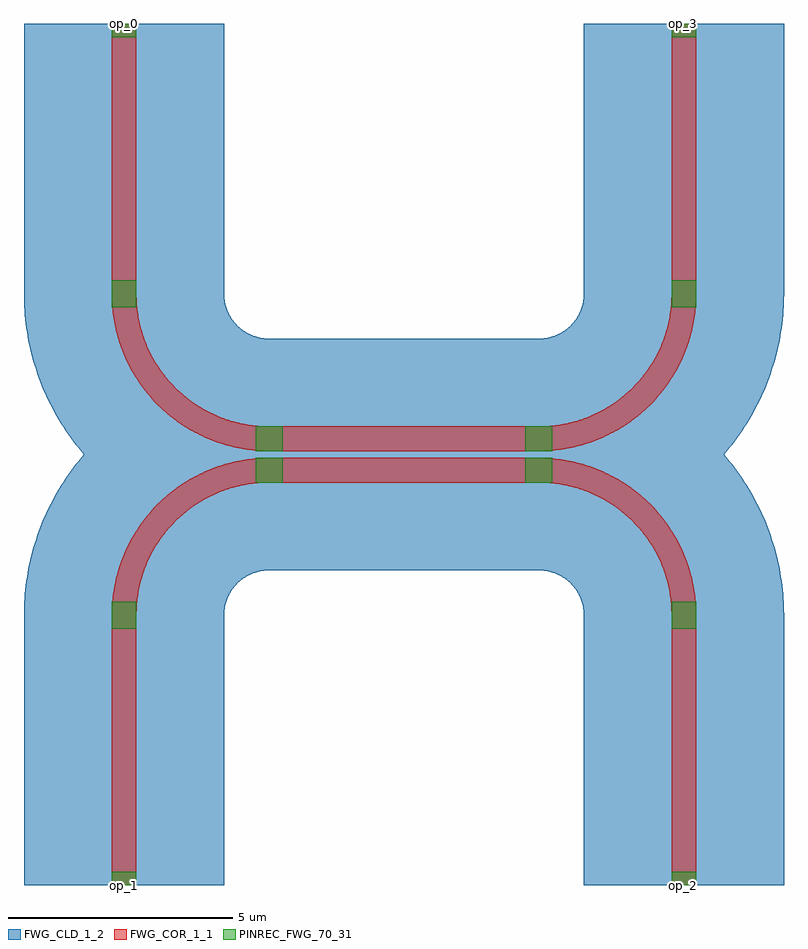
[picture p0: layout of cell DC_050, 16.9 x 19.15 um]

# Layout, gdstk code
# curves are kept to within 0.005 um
from math import pi, radians
import gdstk
lib = gdstk.Library(unit=1e-6, precision=1e-09)
def R(c, l, rs):  # rectangles x0, y0, x1, y1
    for r in rs: c.add(gdstk.rectangle(r[:2], r[2:], *l))
def P(c, l, *ps):  # polygons
    for p in ps: c.add(gdstk.Polygon(p, *l))
FWG_COR_1_1 = (1, 1)
FWG_CLD_1_2 = (1, 2)
PINREC_FWG_70_31 = (70, 31)

wg_x1 = lib.new_cell('wg_x1')
R(wg_x1, FWG_COR_1_1, [(-3,-0.275,3,0.275)])
P(wg_x1, FWG_CLD_1_2, [(-3,2.225),(3,2.225),(3,0.275),(3,-0.275),(3,-2.225),(-3,-2.225),(-3,-0.275),(-3,0.275)])
R(wg_x1, PINREC_FWG_70_31, [(-3,-0.275,-2.7,0.275), (2.7,-0.275,3,0.275)])
wg_x1.add(gdstk.Label('op_0', (-3,0), layer=70, texttype=41))
wg_x1.add(gdstk.Label('op_1', (3,0), layer=70, texttype=41))

straight_coupler = lib.new_cell('Straight_coupler')
R(straight_coupler, PINREC_FWG_70_31, [(-3,-0.275,-2.7,0.275), (2.7,-0.275,3,0.275)])
straight_coupler.add(gdstk.Reference(wg_x1, (0,0)))
straight_coupler.add(gdstk.Label('op_0', (-3,0), layer=70, texttype=41))
straight_coupler.add(gdstk.Label('op_1', (3,0), layer=70, texttype=41))

c_wg = lib.new_cell('wg')
P(c_wg, FWG_COR_1_1, [(2.95,0),(2.943,0.206),(2.914,0.461),(2.862,0.714),(2.772,1.009),(2.674,1.247),(2.555,1.475),(2.446,1.65),(2.26,1.896),(2.049,2.122),(1.816,2.325),(1.65,2.446),(1.519,2.529),(1.247,2.674),(0.912,2.806),(0.613,2.886),(0.308,2.934),(0,2.95),(0,3.5),(0.366,3.481),(0.728,3.424),(1.082,3.329),(1.254,3.268),(1.479,3.172),(1.803,3),(2.008,2.867),(2.155,2.758),(2.431,2.518),(2.681,2.25),(2.867,2.008),(3,1.803),(3.119,1.589),(3.222,1.368),(3.329,1.082),(3.381,0.906),(3.436,0.668),(3.474,0.427),(3.495,0.183),(3.5,0)])
P(c_wg, FWG_CLD_1_2, [(1,0),(0.982,0.191),(0.934,0.358),(0.891,0.454),(0.839,0.545),(0.719,0.695),(0.643,0.766),(0.545,0.839),(0.375,0.927),(0.191,0.982),(0,1),(0,5.45),(0.38,5.437),(0.853,5.383),(1.04,5.35),(1.318,5.288),(1.502,5.239),(1.774,5.153),(2.217,4.979),(2.389,4.899),(2.642,4.767),(2.807,4.672),(3.048,4.518),(3.28,4.353),(3.43,4.236),(3.786,3.92),(3.986,3.717),(4.113,3.576),(4.236,3.43),(4.409,3.203),(4.518,3.048),(4.672,2.807),(4.899,2.389),(5.017,2.13),(5.088,1.953),(5.239,1.502),(5.35,1.04),(5.383,0.853),(5.42,0.57),(5.443,0.285),(5.45,0)])
R(c_wg, PINREC_FWG_70_31, [(2.95,0,3.5,0.3), (0,2.95,0.3,3.5)])
c_wg.add(gdstk.Label('op_0', (3.225,0), layer=70, texttype=41))
c_wg.add(gdstk.Label('op_1', (0,3.225), layer=70, texttype=41))

bendcircular_rbend = lib.new_cell('BendCircular_rbend')
R(bendcircular_rbend, PINREC_FWG_70_31, [(2.95,0,3.5,0.3), (0,2.95,0.3,3.5)])
bendcircular_rbend.add(gdstk.Reference(c_wg, (0,0)))
bendcircular_rbend.add(gdstk.Label('op_0', (3.225,0), layer=70, texttype=41))
bendcircular_rbend.add(gdstk.Label('op_1', (0,3.225), layer=70, texttype=41))

wg_x2 = lib.new_cell('wg_x2')
R(wg_x2, FWG_COR_1_1, [(0,-0.275,6,0.275)])
P(wg_x2, FWG_CLD_1_2, [(0,2.225),(6,2.225),(6,0.275),(6,-0.275),(6,-2.225),(0,-2.225),(0,-0.275),(0,0.275)])
R(wg_x2, PINREC_FWG_70_31, [(0,-0.275,0.3,0.275), (5.7,-0.275,6,0.275)])
wg_x2.add(gdstk.Label('op_0', (0,0), layer=70, texttype=41))
wg_x2.add(gdstk.Label('op_1', (6,0), layer=70, texttype=41))

straight_rafterbend = lib.new_cell('Straight_rafterbend')
R(straight_rafterbend, PINREC_FWG_70_31, [(0,-0.275,0.3,0.275), (5.7,-0.275,6,0.275)])
straight_rafterbend.add(gdstk.Reference(wg_x2, (0,0)))
straight_rafterbend.add(gdstk.Label('op_0', (0,0), layer=70, texttype=41))
straight_rafterbend.add(gdstk.Label('op_1', (6,0), layer=70, texttype=41))

bottom = lib.new_cell('bottom')
R(bottom, PINREC_FWG_70_31, [(-6.5,-9.575,-5.95,-9.275), (5.95,-9.575,6.5,-9.275)])
bottom.add(gdstk.Reference(straight_coupler, (0,-0.35)))
bottom.add(gdstk.Reference(bendcircular_rbend, (-3,-3.575), rotation=pi/2))
bottom.add(gdstk.Reference(straight_rafterbend, (-6.225,-9.575), rotation=pi/2))
bottom.add(gdstk.Reference(bendcircular_rbend, (3,-3.575)))
bottom.add(gdstk.Reference(straight_rafterbend, (6.225,-3.575), rotation=3*pi/2))
bottom.add(gdstk.Label('op_0', (-6.225,-9.575), layer=70, texttype=41))
bottom.add(gdstk.Label('op_1', (6.225,-9.575), layer=70, texttype=41))

dc_050 = lib.new_cell('DC_050')
R(dc_050, PINREC_FWG_70_31, [(-6.5,-9.575,-5.95,-9.275), (5.95,-9.575,6.5,-9.275), (-6.5,9.275,-5.95,9.575), (5.95,9.275,6.5,9.575)])
dc_050.add(gdstk.Reference(bottom, (0,0)))
dc_050.add(gdstk.Reference(bottom, (0,0), rotation=pi))
dc_050.add(gdstk.Label('op_0', (-6.225,9.575), layer=70, texttype=41))
dc_050.add(gdstk.Label('op_1', (-6.225,-9.575), layer=70, texttype=41))
dc_050.add(gdstk.Label('op_2', (6.225,-9.575), layer=70, texttype=41))
dc_050.add(gdstk.Label('op_3', (6.225,9.575), layer=70, texttype=41))

lib.write_gds('DC_050.gds')
